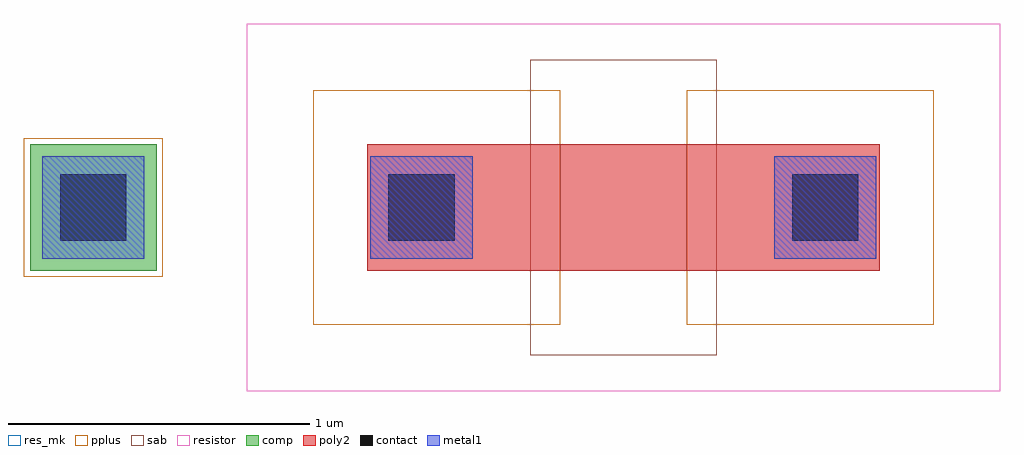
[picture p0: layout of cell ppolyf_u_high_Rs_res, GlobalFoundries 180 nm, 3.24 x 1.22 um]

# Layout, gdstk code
import gdstk
lib = gdstk.Library(unit=1e-6, precision=1e-09)
def R(c, l, rs):  # rectangles x0, y0, x1, y1
    for r in rs: c.add(gdstk.rectangle(r[:2], r[2:], *l))
comp = (22, 0)
poly2 = (30, 0)
pplus = (31, 0)
contact = (33, 0)
metal1 = (34, 0)
sab = (49, 0)
resistor = (62, 0)
res_mk = (110, 5)

compass_f40c7e4f = lib.new_cell('compass_f40c7e4f')
R(compass_f40c7e4f, res_mk, [(-0.21,-0.21,0.21,0.21)])

rectangle_f40c7e4f = lib.new_cell('rectangle_f40c7e4f')
rectangle_f40c7e4f.add(gdstk.Reference(compass_f40c7e4f, (0.21,0.21)))

compass_907f2ba3 = lib.new_cell('compass_907f2ba3')
R(compass_907f2ba3, resistor, [(-1.25,-0.61,1.25,0.61)])

rectangle_907f2ba3 = lib.new_cell('rectangle_907f2ba3')
rectangle_907f2ba3.add(gdstk.Reference(compass_907f2ba3, (1.25,0.61)))

compass_6b2bcdbc = lib.new_cell('compass_6b2bcdbc')
R(compass_6b2bcdbc, sab, [(-0.31,-0.49,0.31,0.49)])

rectangle_6b2bcdbc = lib.new_cell('rectangle_6b2bcdbc')
rectangle_6b2bcdbc.add(gdstk.Reference(compass_6b2bcdbc, (0.31,0.49)))

compass_9d4e71ee = lib.new_cell('compass_9d4e71ee')
R(compass_9d4e71ee, poly2, [(-0.85,-0.21,0.85,0.21)])

rectangle_9d4e71ee = lib.new_cell('rectangle_9d4e71ee')
rectangle_9d4e71ee.add(gdstk.Reference(compass_9d4e71ee, (0.85,0.21)))

compass_f38dc993 = lib.new_cell('compass_f38dc993')
R(compass_f38dc993, contact, [(-0.11,-0.11,0.11,0.11)])

rectangle_f38dc993 = lib.new_cell('rectangle_f38dc993')
rectangle_f38dc993.add(gdstk.Reference(compass_f38dc993, (0.11,0.11)))

via_generator_f7a0cab3 = lib.new_cell('via_generator_f7a0cab3')
r = gdstk.Reference(rectangle_f38dc993, (-0.57,0.1)); r.repetition = gdstk.Repetition(1, 1, v1=(0.5,0), v2=(0,0.5)); via_generator_f7a0cab3.add(r)

compass_02b66c81 = lib.new_cell('compass_02b66c81')
R(compass_02b66c81, metal1, [(-0.17,-0.17,0.17,0.17)])

rectangle_02b66c81 = lib.new_cell('rectangle_02b66c81')
rectangle_02b66c81.add(gdstk.Reference(compass_02b66c81, (0.17,0.17)))

via_stack_59bc63ad = lib.new_cell('via_stack_59bc63ad')
via_stack_59bc63ad.add(gdstk.Reference(via_generator_f7a0cab3, (0,0)))
via_stack_59bc63ad.add(gdstk.Reference(rectangle_02b66c81, (-0.63,0.04)))

compass_40309c57 = lib.new_cell('compass_40309c57')
R(compass_40309c57, pplus, [(-0.41,-0.39,0.41,0.39)])

rectangle_40309c57 = lib.new_cell('rectangle_40309c57')
rectangle_40309c57.add(gdstk.Reference(compass_40309c57, (0.41,0.39)))

compass_dc57526c = lib.new_cell('compass_dc57526c')
R(compass_dc57526c, comp, [(-0.21,-0.21,0.21,0.21)])

rectangle_dc57526c = lib.new_cell('rectangle_dc57526c')
rectangle_dc57526c.add(gdstk.Reference(compass_dc57526c, (0.21,0.21)))

via_generator_928acc0e = lib.new_cell('via_generator_928acc0e')
r = gdstk.Reference(rectangle_f38dc993, (-1.66,0.1)); r.repetition = gdstk.Repetition(1, 1, v1=(0.5,0), v2=(0,0.5)); via_generator_928acc0e.add(r)

via_stack_ccf6eec7 = lib.new_cell('via_stack_ccf6eec7')
via_stack_ccf6eec7.add(gdstk.Reference(via_generator_928acc0e, (0,0)))
via_stack_ccf6eec7.add(gdstk.Reference(rectangle_02b66c81, (-1.72,0.04)))

compass_fcb4650e = lib.new_cell('compass_fcb4650e')
R(compass_fcb4650e, pplus, [(-0.23,-0.23,0.23,0.23)])

rectangle_fcb4650e = lib.new_cell('rectangle_fcb4650e')
rectangle_fcb4650e.add(gdstk.Reference(compass_fcb4650e, (0.23,0.23)))

ppolyf_u_high_rs_res = lib.new_cell('ppolyf_u_high_Rs_res')
ppolyf_u_high_rs_res.add(gdstk.Reference(rectangle_f40c7e4f, (0,0)))
ppolyf_u_high_rs_res.add(gdstk.Reference(rectangle_907f2ba3, (-1.04,-0.4)))
ppolyf_u_high_rs_res.add(gdstk.Reference(rectangle_6b2bcdbc, (-0.1,-0.28)))
ppolyf_u_high_rs_res.add(gdstk.Reference(rectangle_9d4e71ee, (-0.64,0)))
r = gdstk.Reference(via_stack_59bc63ad, (0,0)); r.repetition = gdstk.Repetition(2, 1, v1=(1.34,0), v2=(0,1)); ppolyf_u_high_rs_res.add(r)
r = gdstk.Reference(rectangle_40309c57, (-0.82,-0.18)); r.repetition = gdstk.Repetition(2, 1, v1=(1.24,0), v2=(0,1)); ppolyf_u_high_rs_res.add(r)
ppolyf_u_high_rs_res.add(gdstk.Reference(rectangle_dc57526c, (-1.76,0)))
ppolyf_u_high_rs_res.add(gdstk.Reference(via_stack_ccf6eec7, (0,0)))
ppolyf_u_high_rs_res.add(gdstk.Reference(rectangle_fcb4650e, (-1.78,-0.02)))

lib.write_gds('ppolyf_u_high_Rs_res.gds')
